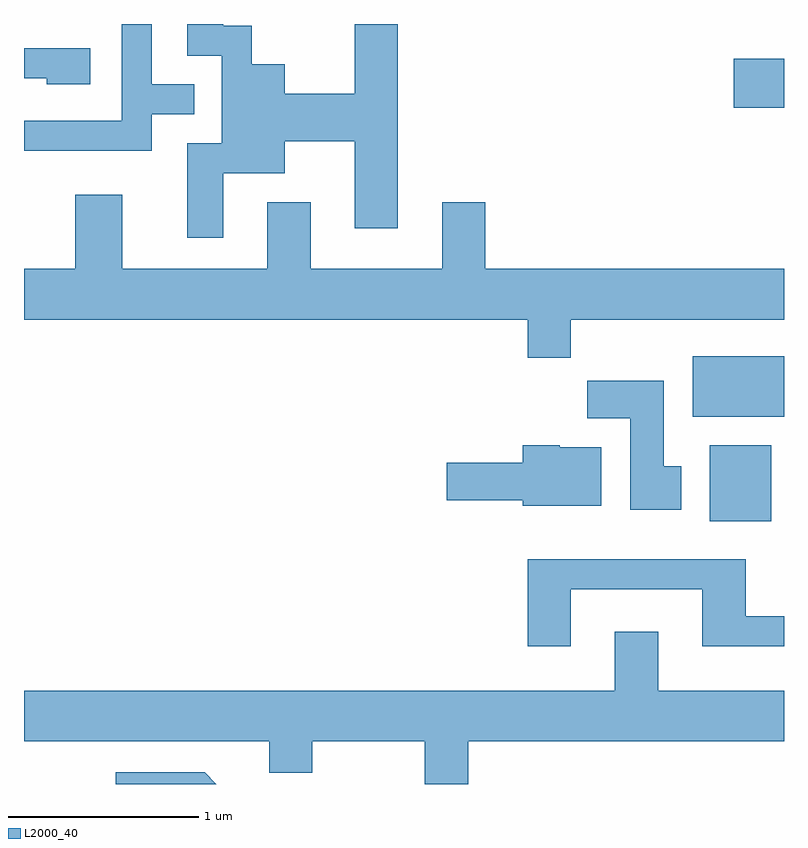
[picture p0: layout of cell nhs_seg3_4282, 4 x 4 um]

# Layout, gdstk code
import gdstk
lib = gdstk.Library(unit=1e-6, precision=1e-09)
def R(c, l, rs):  # rectangles x0, y0, x1, y1
    for r in rs: c.add(gdstk.rectangle(r[:2], r[2:], *l))
def P(c, l, *ps):  # polygons
    for p in ps: c.add(gdstk.Polygon(p, *l))
L2000_40 = (2000, 40)

nhs_seg3_4282 = lib.new_cell('nhs_seg3_4282')
R(nhs_seg3_4282, L2000_40, [(313.221,1249.276,313.544,1249.674), (313.131,1249.826,313.611,1250.144), (313.346,1251.451,313.611,1251.709)])
P(nhs_seg3_4282, L2000_40, [(310.659,1251.106),(310.984,1251.106),(310.984,1251.276),(311.351,1251.276),(311.351,1250.816),(311.579,1250.816),(311.579,1251.892),(311.351,1251.892),(311.351,1251.524),(310.984,1251.524),(310.984,1251.679),(310.809,1251.679),(310.809,1251.884),(310.659,1251.884),(310.659,1251.892),(310.471,1251.892),(310.471,1251.726),(310.651,1251.726),(310.651,1251.264),(310.471,1251.264),(310.471,1250.766),(310.659,1250.766)],
  [(310.284,1251.416),(310.508,1251.416),(310.508,1251.574),(310.284,1251.574),(310.284,1251.892),(310.126,1251.892),(310.126,1251.384),(309.611,1251.384),(309.611,1251.226),(310.284,1251.226)],
  [(309.959,1251.764),(309.611,1251.764),(309.611,1251.606),(309.731,1251.606),(309.731,1251.576),(309.959,1251.576)],
  [(312.039,1250.954),(311.811,1250.954),(311.811,1250.604),(311.119,1250.604),(311.119,1250.954),(310.891,1250.954),(310.891,1250.604),(310.129,1250.604),(310.129,1250.994),(309.881,1250.994),(309.881,1250.604),(309.611,1250.604),(309.611,1250.336),(312.261,1250.336),(312.261,1250.136),(312.489,1250.136),(312.489,1250.336),(313.611,1250.336),(313.611,1250.604),(312.039,1250.604)],
  [(313.069,1249.564),(312.979,1249.564),(312.979,1250.014),(312.576,1250.014),(312.576,1249.816),(312.801,1249.816),(312.801,1249.336),(313.069,1249.336)],
  [(312.649,1249.664),(312.43,1249.664),(312.43,1249.674),(312.236,1249.674),(312.236,1249.584),(311.836,1249.584),(311.836,1249.386),(312.236,1249.386),(312.236,1249.356),(312.649,1249.356)],
  [(312.489,1248.916),(313.181,1248.916),(313.181,1248.616),(313.611,1248.616),(313.611,1248.774),(313.409,1248.774),(313.409,1249.074),(312.261,1249.074),(312.261,1248.616),(312.489,1248.616)],
  [(311.949,1248.116),(313.611,1248.116),(313.611,1248.384),(312.949,1248.384),(312.949,1248.694),(312.721,1248.694),(312.721,1248.384),(309.611,1248.384),(309.611,1248.116),(310.901,1248.116),(310.901,1247.951),(311.129,1247.951),(311.129,1248.116),(311.721,1248.116),(311.721,1247.892),(311.949,1247.892)],
  [(310.562,1247.954),(310.093,1247.954),(310.093,1247.892),(310.624,1247.892)])

lib.write_gds('nhs_seg3_4282.gds')
